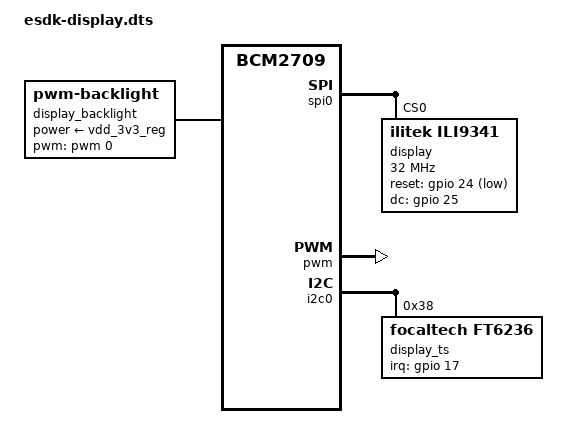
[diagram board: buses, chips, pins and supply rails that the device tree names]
/*
 * Device Tree Overlay for ESDK Display & Touchscreen (DT028CTFT-PTS2)
 * RS Components 2021
 *
 */

/dts-v1/;
/plugin/;

/ {
        compatible = "brcm,bcm2835", "brcm,bcm2708", "brcm,bcm2709";

        fragment@0 {
                target = <&spi0>;
                __overlay__ {
                        status = "okay";

                        spidev@0{
                                status = "disabled";
                        };

                        spidev@1{
                                status = "disabled";
                        };
                };
        };

        fragment@1 {
                target = <&gpio>;
                __overlay__ {
                        display_pins: display_pins {
                                brcm,pins = <24 25>;
                                brcm,function = <1 1>; /* out */
                                brcm,pull = <0 0>; /* none */
                        };

                        ts_pins: ts_pins {
                                brcm,pins = <17 4>;
                                brcm,function = <0 1>; /* in, out */
                                brcm,pull = <2 0>; /* pullup, none */
                        };

                        backlight_pins: backlight_pins {
                                brcm,pins = <12>;
                                brcm,function = <4>; /* Alt0 mode is PWM */
                        };
                };
        };

        fragment@2 {
                target = <&pwm>;
                frag1: __overlay__ {
                        pinctrl-names = "default";
                        pinctrl-0 = <&backlight_pins>;
                        assigned-clock-rates = <1000000>;
                        status = "okay";
                };
        };

        fragment@3 {
                target-path = "/";
                __overlay__ {
                        display_backlight: display_backlight {
                                compatible = "pwm-backlight";
                                brightness-levels = <0 6 8 12 16 24 32 40 48 64 96 128 160 192 224 255>;
                                default-brightness-level = <6>;
                                pwms = <&pwm 0 200000>;
                                power-supply = <&vdd_3v3_reg>;
                                status = "okay";
                        };
                };
        };

        fragment@4 {
                target = <&spi0>;
                __overlay__ {
                        /* needed to avoid dtc warning */
                        #address-cells = <1>;
                        #size-cells = <0>;

                        display: display@0{
                                compatible = "ilitek,ili9341";
                                reg = <0>;
                                pinctrl-names = "default";
                                pinctrl-0 = <&display_pins>;

                                spi-max-frequency = <32000000>;
                                txbuflen = <32768>;
                                rotate = <270>;
                                bgr = <1>;
                                fps = <30>;
                                buswidth = <8>;
                                reset-gpios = <&gpio 24 1>;
                                dc-gpios = <&gpio 25 0>;
                                debug = <0>;

                                /* init routine necessary to invert display colours */
                                init = <0x1000001
                                        0x2000005
                                        0x1000028
                                        0x10000CF 0x00 0x83 0x30
                                        0x10000ED 0x64 0x03 0x12 0x81
                                        0x10000E8 0x85 0x01 0x79
                                        0x10000DB 0x39 0x2C 0x00 0x34 0x02
                                        0x10000F7 0x20
                                        0x10000EA 0x00 0x00
                                        0x10000C0 0x26
                                        0x10000C1 0x11
                                        0x10000C5 0x35 0x3E
                                        0x10000C7 0xBE
                                        0x100003A 0x55
                                        0x10000B1 0x00 0x1B
                                        0x1000026 0x01
                                        0x1000021
                                        0x10000B7 0x07
                                        0x10000B6 0x0A 0x82 0x27 0x00
                                        0x1000011
                                        0x2000064
                                        0x1000029
                                        0x2000014>;
                        };

                };
        };

        fragment@5 {
                target = <&i2c0>;
                __overlay__ {
                        /* needed to avoid dtc warning */
                        #address-cells = <1>;
                        #size-cells = <0>;

                        display_ts: display_ts@38 {
                                compatible = "focaltech,ft6236";
                                reg = <0x38>;

                                interrupt-parent = <&gpio>;
                                interrupts = <17 2>;
                                touchscreen-size-x = <240>;
                                touchscreen-size-y = <320>;
                                touchscreen-swapped-x-y = <1>;
                                touchscreen-inverted-x = <1>;
                        };
                };
        };
};
